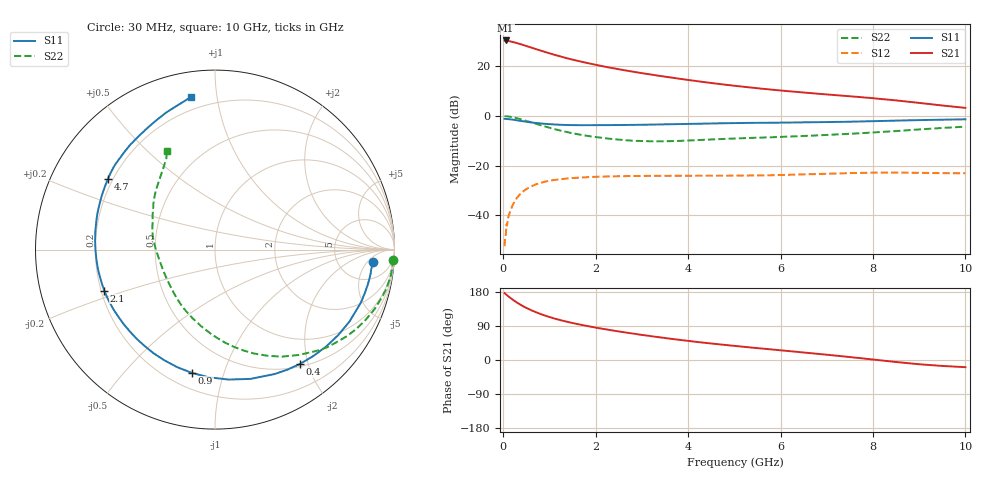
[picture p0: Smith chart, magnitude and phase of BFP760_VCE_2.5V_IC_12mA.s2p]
! Infineon Technologies  Discrete & RF Semiconductors
! BFP760
! VCE =  2.5 V,  IC =  12 mA
! Common Emitter S-Parameters:  Nov 2012
# GHz  S  MA  R  50
!  f  S11  S21  S12  S22
! GHz  MAG  ANG  MAG  ANG  MAG  ANG  MAG  ANG
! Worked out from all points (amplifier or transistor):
!   99 points, 30 MHz to 10 GHz, reference 50 ohm
!   highest |S21| = 30.5 dB at 50 MHz (marker M1)
!   |S21| within 3 dB of that: start of sweep to 628.5 MHz
!   unconditionally stable (mu >= 1): 5.29 GHz to end of sweep
!   at 350 MHz: K = 0.14, MSG = 30.4 dB, |S12| = -31.8 dB
!   at 3.5 GHz: K = 0.74, MSG = 20.0 dB, |S12| = -24.0 dB
!   at 10 GHz: K = 1.15, MAG = 10.8 dB, |S12| = -23.0 dB
!   S11 on the Smith chart (normalised r, x): 30 MHz: 12, -7; 400 MHz: 0.54, -1.87; 900 MHz: 0.29, -0.79; 2.1 GHz: 0.21, -0.17; 4.7 GHz: 0.18, +0.29; 10 GHz: 0.13, +0.84
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0.03  0.8806 -4.4  32.98 176.7  0.0024 91.4  0.9951 -3.2
0.04  0.8803 -5.8  33 175.8  0.0035 88.1  0.9953 -4.2
0.05  0.8771 -7.3  33.37 174.1  0.0038 79.2  0.9921 -5.2
0.15  0.8606 -21.6  32.08 164.3  0.0121 78.7  0.9695 -15.4
0.25  0.8354 -34.9  30.41 155.4  0.0195 71.4  0.9272 -24.8
0.3  0.8214 -41.2  29.45 151.4  0.0228 67.7  0.9042 -29.1
0.4  0.794 -53.3  27.63 144.0  0.0287 62.1  0.8512 -37.3
0.5  0.7691 -64.3  25.78 137.6  0.0339 56.9  0.8003 -44.8
0.6  0.7469 -74.7  24.09 131.7  0.0382 52.2  0.7502 -51.5
0.7  0.7281 -84.0  22.47 126.5  0.042 48.0  0.7037 -57.9
0.9  0.6991 -100.6  19.65 117.4  0.0477 41.2  0.6193 -69.3
1.1  0.6783 -114.5  17.26 109.8  0.0516 35.8  0.5498 -79.3
1.3  0.665 -126.2  15.32 103.3  0.0543 31.5  0.4946 -88.2
1.7  0.6556 -145.0  12.41 92.5  0.058 25.4  0.4164 -104.0
2.1  0.6577 -159.7  10.33 83.3  0.0602 20.9  0.3684 -118.8
2.7  0.6636 -176.9  8.15 71.6  0.0619 16.2  0.3242 -138.7
3.4  0.6791 167.1  6.424 59.6  0.0627 12.9  0.311 -160.3
4.7  0.715 146.4  4.407 41.0  0.0631 9.9  0.3445 172.2
5.1  0.7249 142.1  3.992 36.1  0.0634 9.6  0.3567 166.9
6.7  0.7521 128.4  2.878 17.5  0.0677 9.3  0.4052 148.7
8.5  0.811 109.5  2.07 -5.3  0.0728 3.2  0.4994 128.2
10  0.8612 99.1  1.463 -18.9  0.0705 1.2  0.6125 115.9
